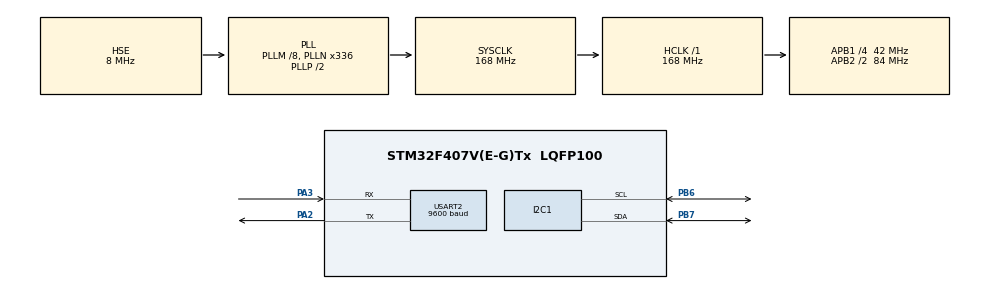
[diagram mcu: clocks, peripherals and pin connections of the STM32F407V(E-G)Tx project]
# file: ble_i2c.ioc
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Mcu.Family=STM32F4
Mcu.Name=STM32F407V(E-G)Tx
Mcu.Package=LQFP100
NVIC.PriorityGroup=NVIC_PRIORITYGROUP_4
PA2.Mode=Asynchronous
PA2.Signal=USART2_TX
PA3.Mode=Asynchronous
PA3.Signal=USART2_RX
PB6.Mode=I2C
PB6.Signal=I2C1_SCL
PB7.Mode=I2C
PB7.Signal=I2C1_SDA
PH0-OSC_IN.Mode=HSE-External-Oscillator
PH0-OSC_IN.Signal=RCC_OSC_IN
PH1-OSC_OUT.Mode=HSE-External-Oscillator
PH1-OSC_OUT.Signal=RCC_OSC_OUT
ProjectManager.HeapSize=0x200
ProjectManager.StackSize=0x400
ProjectManager.TargetToolchain=STM32CubeIDE
RCC.48MHZClocksFreq_Value=84000000
RCC.AHBFreq_Value=168000000
RCC.APB1CLKDivider=RCC_HCLK_DIV4
RCC.APB1Freq_Value=42000000
RCC.APB1TimFreq_Value=84000000
RCC.APB2CLKDivider=RCC_HCLK_DIV2
RCC.APB2Freq_Value=84000000
RCC.APB2TimFreq_Value=168000000
RCC.CortexFreq_Value=168000000
RCC.HCLKFreq_Value=168000000
RCC.HSE_VALUE=8000000
RCC.HSI_VALUE=16000000
RCC.LSE_VALUE=32768
RCC.PLLM=8
RCC.PLLN=336
RCC.PLLSourceVirtual=RCC_PLLSOURCE_HSE
RCC.SYSCLKFreq_VALUE=168000000
RCC.SYSCLKSource=RCC_SYSCLKSOURCE_PLLCLK
RCC.VCOOutputFreq_Value=336000000
TIM2.Prescaler=167
USART2.BaudRate=9600
USART2.VirtualMode=VM_ASYNC
VP_TIM2_VS_ClockSourceINT.Mode=Internal
board=custom

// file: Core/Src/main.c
/* USER CODE BEGIN Header */
/**
  ******************************************************************************
  * @file           : main.c
  * @brief          : Main program body
  ******************************************************************************
  * @attention
  *
  * Copyright (c) 2024 STMicroelectronics.
  * All rights reserved.
  *
  * This software is licensed under terms that can be found in the LICENSE file
  * in the root directory of this software component.
  * If no LICENSE file comes with this software, it is provided AS-IS.
  *
  ******************************************************************************
  */
/* USER CODE END Header */
#include "main.h"

/* USER CODE BEGIN Includes */
#include "string.h"
#include "IMU.h"
/* USER CODE END Includes */

I2C_HandleTypeDef hi2c1;

TIM_HandleTypeDef htim2;

UART_HandleTypeDef huart2;

/* USER CODE BEGIN PV */
SensdDat imu_data;
/* USER CODE END PV */

void SystemClock_Config(void);
static void MX_GPIO_Init(void);
static void MX_I2C1_Init(void);
static void MX_USART2_UART_Init(void);
static void MX_TIM2_Init(void);

int main(void)
{
  /* USER CODE BEGIN 1 */
char pData[200] =  "test\n" ;
int s_size = 0;
uint32_t sensor_delay = 0;
uint32_t = msg_delay = 0;

		/* USER CODE END 1 */

  /* MCU Configuration--------------------------------------------------------*/

  /* Reset of all peripherals, Initializes the Flash interface and the Systick. */
  HAL_Init();

  /* Configure the system clock */
  SystemClock_Config();

  /* Initialize all configured peripherals */
  MX_GPIO_Init();
  MX_I2C1_Init();
  MX_USART2_UART_Init();
  MX_TIM2_Init();
  /* USER CODE BEGIN 2 */
  InitIMU();
  HAL_TIM_Base_Start(&htim2); //timeri burda baslattik
  /* USER CODE END 2 */

  /* Infinite loop */
  while (1)
  {

    /* USER CODE BEGIN 3 */

	   	   main_cnt = __HAL_TIM_GET_COUNTER(&htim2);  // read timer value per ms

	   //karsilastirma uint64 yap
	 	  if(abs(main_cnt -sensor_delay)>5000){ //read position 5 ms
	 		 ReadAllSensData(&imu_data);
	 		 sensor_delay = main_cnt;
	 	  }

	 	  if(abs(main_cnt - msg_delay)>30000){ // send data to BLE in 3 ms
	 		 sprintf(pData,"gyroX = %f\n",imu_data.GyroX);
	 		 HAL_UART_Transmit(&huart2,pData , strlen(pData), 0xFF);
	 		  msg_delay = main_cnt;
	 	  }

	  HAL_Delay(10);
  }
  /* USER CODE END 3 */
}

void SystemClock_Config(void)
{
  RCC_OscInitTypeDef RCC_OscInitStruct = {0};
  RCC_ClkInitTypeDef RCC_ClkInitStruct = {0};

  /** Configure the main internal regulator output voltage
  */
  __HAL_RCC_PWR_CLK_ENABLE();
  __HAL_PWR_VOLTAGESCALING_CONFIG(PWR_REGULATOR_VOLTAGE_SCALE1);

  /** Initializes the RCC Oscillators according to the specified parameters
  * in the RCC_OscInitTypeDef structure.
  */
  RCC_OscInitStruct.OscillatorType = RCC_OSCILLATORTYPE_HSE;
  RCC_OscInitStruct.HSEState = RCC_HSE_ON;
  RCC_OscInitStruct.PLL.PLLState = RCC_PLL_ON;
  RCC_OscInitStruct.PLL.PLLSource = RCC_PLLSOURCE_HSE;
  RCC_OscInitStruct.PLL.PLLM = 8;
  RCC_OscInitStruct.PLL.PLLN = 336;
  RCC_OscInitStruct.PLL.PLLP = RCC_PLLP_DIV2;
  RCC_OscInitStruct.PLL.PLLQ = 4;
  if (HAL_RCC_OscConfig(&RCC_OscInitStruct) != HAL_OK)
  {
    Error_Handler();
  }

  /** Initializes the CPU, AHB and APB buses clocks
  */
  RCC_ClkInitStruct.ClockType = RCC_CLOCKTYPE_HCLK|RCC_CLOCKTYPE_SYSCLK
                              |RCC_CLOCKTYPE_PCLK1|RCC_CLOCKTYPE_PCLK2;
  RCC_ClkInitStruct.SYSCLKSource = RCC_SYSCLKSOURCE_PLLCLK;
  RCC_ClkInitStruct.AHBCLKDivider = RCC_SYSCLK_DIV1;
  RCC_ClkInitStruct.APB1CLKDivider = RCC_HCLK_DIV4;
  RCC_ClkInitStruct.APB2CLKDivider = RCC_HCLK_DIV2;

  if (HAL_RCC_ClockConfig(&RCC_ClkInitStruct, FLASH_LATENCY_5) != HAL_OK)
  {
    Error_Handler();
  }
}

static void MX_I2C1_Init(void)
{

  hi2c1.Instance = I2C1;
  hi2c1.Init.ClockSpeed = 100000;
  hi2c1.Init.DutyCycle = I2C_DUTYCYCLE_2;
  hi2c1.Init.OwnAddress1 = 0;
  hi2c1.Init.AddressingMode = I2C_ADDRESSINGMODE_7BIT;
  hi2c1.Init.DualAddressMode = I2C_DUALADDRESS_DISABLE;
  hi2c1.Init.OwnAddress2 = 0;
  hi2c1.Init.GeneralCallMode = I2C_GENERALCALL_DISABLE;
  hi2c1.Init.NoStretchMode = I2C_NOSTRETCH_DISABLE;
  if (HAL_I2C_Init(&hi2c1) != HAL_OK)
  {
    Error_Handler();
  }

}

static void MX_TIM2_Init(void)
{

  TIM_ClockConfigTypeDef sClockSourceConfig = {0};
  TIM_MasterConfigTypeDef sMasterConfig = {0};

  htim2.Instance = TIM2;
  htim2.Init.Prescaler = 167;
  htim2.Init.CounterMode = TIM_COUNTERMODE_UP;
  htim2.Init.Period = 4294967295;
  htim2.Init.ClockDivision = TIM_CLOCKDIVISION_DIV1;
  htim2.Init.AutoReloadPreload = TIM_AUTORELOAD_PRELOAD_DISABLE;
  if (HAL_TIM_Base_Init(&htim2) != HAL_OK)
  {
    Error_Handler();
  }
  sClockSourceConfig.ClockSource = TIM_CLOCKSOURCE_INTERNAL;
  if (HAL_TIM_ConfigClockSource(&htim2, &sClockSourceConfig) != HAL_OK)
  {
    Error_Handler();
  }
  sMasterConfig.MasterOutputTrigger = TIM_TRGO_RESET;
  sMasterConfig.MasterSlaveMode = TIM_MASTERSLAVEMODE_DISABLE;
  if (HAL_TIMEx_MasterConfigSynchronization(&htim2, &sMasterConfig) != HAL_OK)
  {
    Error_Handler();
  }

}

static void MX_USART2_UART_Init(void)
{

  huart2.Instance = USART2;
  huart2.Init.BaudRate = 9600;
  huart2.Init.WordLength = UART_WORDLENGTH_8B;
  huart2.Init.StopBits = UART_STOPBITS_1;
  huart2.Init.Parity = UART_PARITY_NONE;
  huart2.Init.Mode = UART_MODE_TX_RX;
  huart2.Init.HwFlowCtl = UART_HWCONTROL_NONE;
  huart2.Init.OverSampling = UART_OVERSAMPLING_16;
  if (HAL_UART_Init(&huart2) != HAL_OK)
  {
    Error_Handler();
  }

}

static void MX_GPIO_Init(void)
{

  /* GPIO Ports Clock Enable */
  __HAL_RCC_GPIOH_CLK_ENABLE();
  __HAL_RCC_GPIOA_CLK_ENABLE();
  __HAL_RCC_GPIOB_CLK_ENABLE();

}

void Error_Handler(void)
{
  __disable_irq();
  while (1)
  {
  }
}
